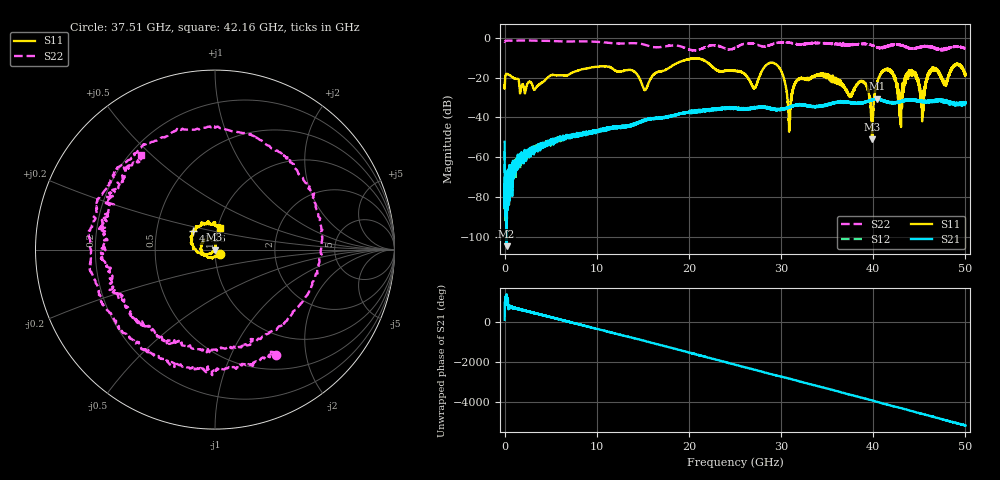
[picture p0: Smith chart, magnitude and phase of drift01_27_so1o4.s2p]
!Created with skrf (http://scikit-rf.org).
# Hz S RI R 50.0
!freq ReS11 ImS11 ReS21 ImS21 ReS12 ImS12 ReS22 ImS22
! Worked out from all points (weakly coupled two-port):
!   10001 points, 300 kHz to 50 GHz, reference 50 ohm
!   highest |S21| = -30.57 dB at 40.39 GHz (marker M1); lowest = -104.5 dB at 210.3 MHz (marker M2)
!   lowest |S11| = -51.0 dB at 39.89 GHz (marker M3), VSWR 1.01, Z = 49.7 - j0.0958 ohm
!   |S11| at or under -10 dB: start of sweep to end of sweep
!   |S22| runs from -6.5 to -1.4 dB; largest |S21 - S12| = 0.0036
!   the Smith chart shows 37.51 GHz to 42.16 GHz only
!   S11 on the Smith chart (normalised r, x): 37.51 GHz: 1.06, -0.05; 41.26 GHz: 0.77, +0.16; 42.16 GHz: 1.02, +0.25
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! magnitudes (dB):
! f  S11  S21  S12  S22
! 300 kHz  -23.7  -52.2  -57.1  -2.1
! 210.3 MHz  -18.1  -104.5  -71.8  -1.4
! 8.335 GHz  -15.9  -48.4  -48.5  -1.8
! 16.67 GHz  -17.1  -40.5  -40.5  -4.8
! 25 GHz  -16.6  -35.1  -35.7  -5.1
! 27.1 GHz  -25.3  -35.5  -35.3  -3.2
! 29.43 GHz  -13.2  -36.2  -36.0  -2.7
! 30.91 GHz  -43.4  -34.5  -34.6  -2.5
! 31.66 GHz  -21.7  -33.5  -33.5  -3.1
! 33.34 GHz  -19.7  -34.5  -34.2  -2.7
! 37.51 GHz  -28.8  -32.6  -32.4  -3.4
! 38.95 GHz  -22.2  -32.4  -32.6  -3.1
! 39.89 GHz  -51.0  -31.4  -31.0  -3.8
! 40.39 GHz  -22.9  -30.6  -31.0  -4.8
! 41.26 GHz  -16.1  -31.9  -31.8  -4.6
! 41.67 GHz  -16.3  -32.2  -32.6  -4.4
! 42.16 GHz  -18.1  -32.7  -32.7  -3.5
! 42.92 GHz  -32.2  -32.2  -32.0  -3.6
! 44.07 GHz  -16.9  -31.1  -31.2  -5.3
! 45.32 GHz  -37.5  -32.1  -31.9  -4.6
! 46.42 GHz  -15.2  -32.5  -32.0  -4.7
! 50 GHz  -18.0  -32.3  -33.1  -5.5
